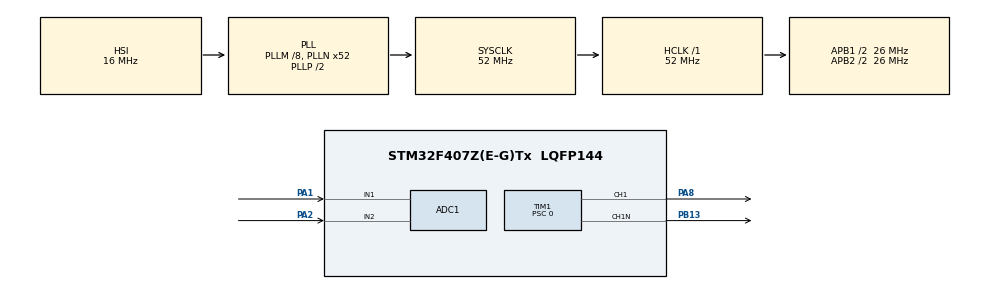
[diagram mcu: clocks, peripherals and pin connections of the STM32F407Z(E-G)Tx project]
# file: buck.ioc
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ADC1.Channel-1\#ChannelRegularConversion=ADC_CHANNEL_1
ADC1.Channel-2\#ChannelRegularConversion=ADC_CHANNEL_2
ADC1.ContinuousConvMode=ENABLE
ADC1.DMAContinuousRequests=ENABLE
ADC1.DiscontinuousConvMode=DISABLE
ADC1.EOCSelection=ADC_EOC_SEQ_CONV
ADC1.ExternalTrigConv=ADC_SOFTWARE_START
ADC1.NbrOfConversion=2
ADC1.NbrOfConversionFlag=1
ADC1.Rank-1\#ChannelRegularConversion=1
ADC1.Rank-2\#ChannelRegularConversion=2
ADC1.SamplingTime-1\#ChannelRegularConversion=ADC_SAMPLETIME_3CYCLES
ADC1.SamplingTime-2\#ChannelRegularConversion=ADC_SAMPLETIME_3CYCLES
ADC1.ScanConvMode=ENABLE
ADC1.master=1
Dma.ADC1.0.Direction=DMA_PERIPH_TO_MEMORY
Dma.ADC1.0.FIFOMode=DMA_FIFOMODE_DISABLE
Dma.ADC1.0.Instance=DMA2_Stream0
Dma.ADC1.0.MemDataAlignment=DMA_MDATAALIGN_HALFWORD
Dma.ADC1.0.MemInc=DMA_MINC_ENABLE
Dma.ADC1.0.Mode=DMA_CIRCULAR
Dma.ADC1.0.PeriphDataAlignment=DMA_PDATAALIGN_HALFWORD
Dma.ADC1.0.PeriphInc=DMA_PINC_DISABLE
Dma.ADC1.0.Priority=DMA_PRIORITY_LOW
Dma.Request0=ADC1
Mcu.Family=STM32F4
Mcu.Name=STM32F407Z(E-G)Tx
Mcu.Package=LQFP144
NVIC.DMA2_Stream0_IRQn=true\:0\:0\:false\:false\:true\:false\:true
NVIC.PriorityGroup=NVIC_PRIORITYGROUP_1
NVIC.TIM1_UP_TIM10_IRQn=true\:0\:1\:true\:false\:true\:true\:true
PA1.Signal=ADCx_IN1
PA2.Signal=ADCx_IN2
PA8.GPIO_ModeDefaultPP=GPIO_MODE_AF_PP
PA8.Signal=S_TIM1_CH1
PB13.Mode=PWM Generation1 CH1 CH1N
PB13.Signal=TIM1_CH1N
ProjectManager.HeapSize=0x200
ProjectManager.StackSize=0x400
ProjectManager.TargetToolchain=MDK-ARM V5
RCC.48MHZClocksFreq_Value=26000000
RCC.AHBFreq_Value=52000000
RCC.APB1CLKDivider=RCC_HCLK_DIV2
RCC.APB1Freq_Value=26000000
RCC.APB1TimFreq_Value=52000000
RCC.APB2CLKDivider=RCC_HCLK_DIV2
RCC.APB2Freq_Value=26000000
RCC.APB2TimFreq_Value=52000000
RCC.CortexFreq_Value=52000000
RCC.HCLKFreq_Value=52000000
RCC.HSE_VALUE=25000000
RCC.HSI_VALUE=16000000
RCC.LSE_VALUE=32768
RCC.PLLM=8
RCC.PLLN=52
RCC.SYSCLKFreq_VALUE=52000000
RCC.SYSCLKSource=RCC_SYSCLKSOURCE_PLLCLK
RCC.VCOOutputFreq_Value=104000000
SH.ADCx_IN1.0=ADC1_IN1,IN1
SH.ADCx_IN2.0=ADC1_IN2,IN2
SH.S_TIM1_CH1.0=TIM1_CH1,PWM Generation1 CH1 CH1N
TIM1.AutomaticOutput=TIM_AUTOMATICOUTPUT_ENABLE
TIM1.Channel-PWM\ Generation1\ CH1\ CH1N=TIM_CHANNEL_1
TIM1.DeadTime=10
TIM1.OCIdleState_1=TIM_OCIDLESTATE_RESET
TIM1.OCNIdleState_1=TIM_OCNIDLESTATE_RESET
TIM1.Period=2599
TIM1.Prescaler=0
TIM1.Pulse-PWM\ Generation1\ CH1\ CH1N=0
VP_TIM1_VS_ClockSourceINT.Mode=Internal
board=custom

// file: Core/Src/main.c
/* USER CODE BEGIN Header */
/**
  ******************************************************************************
  * @file           : main.c
  * @brief          : Main program body
  ******************************************************************************
  * @attention
  *
  * <h2><center>&copy; Copyright (c) 2020 STMicroelectronics.
  * All rights reserved.</center></h2>
  *
  * This software component is licensed by ST under BSD 3-Clause license,
  * the "License"; You may not use this file except in compliance with the
  * License. You may obtain a copy of the License at:
  *                        opensource.org/licenses/BSD-3-Clause
  *
  ******************************************************************************
  */
	/*PA1 电压 PA2电流   橙色连PA1*/
/* USER CODE END Header */
#include "main.h"

/* USER CODE BEGIN Includes */
#include "pid.h"
#include "myiic.h"
#include "oled.h"
/* USER CODE END Includes */

/* USER CODE BEGIN PD */
#define RHEOSTAT_ADC_DR_ADDR                ((uint32_t)ADC1+0x4c)
/* USER CODE END PD */

ADC_HandleTypeDef hadc1;
DMA_HandleTypeDef hdma_adc1;

TIM_HandleTypeDef htim1;

void SystemClock_Config(void);
static void MX_GPIO_Init(void);
static void MX_DMA_Init(void);
static void MX_ADC1_Init(void);
static void MX_TIM1_Init(void);

/* USER CODE BEGIN 0 */
ADC_HandleTypeDef hadc1;
TIM_HandleTypeDef htim1;
float fi_value;
uint16_t  adc_value[2];
int  pulse;
extern struct pid_var pid;
int value_array[100]={0};
unsigned char count=0;
unsigned char am=1;
float sum=0;
unsigned char show[14];
float U_out=0;
float I_out=0;
/* USER CODE END 0 */

int main(void)
{

  /* MCU Configuration--------------------------------------------------------*/

  /* Reset of all peripherals, Initializes the Flash interface and the Systick. */
  HAL_Init();

  /* Configure the system clock */
  SystemClock_Config();

  /* Initialize all configured peripherals */
  MX_GPIO_Init();
  MX_DMA_Init();
  MX_ADC1_Init();
  MX_TIM1_Init();
  /* USER CODE BEGIN 2 */
	HAL_ADC_Start_DMA(&hadc1, (uint32_t*)&adc_value,2);
	pid_init(20,3,0,16);
	HAL_SYSTICK_Config(HAL_RCC_GetHCLKFreq()/1000000);     //HAL_Delay()  us级
	IIC_Init();

  OLED_Init();

  OLED_Fill(0xff);
	OLED_Fill(0x00);

  HAL_TIM_Base_Start_IT(&htim1);
  /* USER CODE END 2 */

  /* Infinite loop */
  /* USER CODE BEGIN WHILE */
  while (1)
  {
		U_out=adc_value[0]*3.3/4096;
    sprintf((char*)show, "U_out = %.4f ",(U_out));
    OLED_P6x8Str(5,0,show);
		I_out=adc_value[1]*3.3/4096;
    sprintf((char*)show, "I_out = %.4f ",(I_out));
    OLED_P6x8Str(5,1,show);
		//__HAL_TIM_SetCompare(&htim1, TIM_CHANNEL_1,1000);
    /* USER CODE END WHILE */

  }
}

void SystemClock_Config(void)
{
  RCC_OscInitTypeDef RCC_OscInitStruct = {0};
  RCC_ClkInitTypeDef RCC_ClkInitStruct = {0};

  /** Configure the main internal regulator output voltage
  */
  __HAL_RCC_PWR_CLK_ENABLE();
  __HAL_PWR_VOLTAGESCALING_CONFIG(PWR_REGULATOR_VOLTAGE_SCALE1);
  /** Initializes the RCC Oscillators according to the specified parameters
  * in the RCC_OscInitTypeDef structure.
  */
  RCC_OscInitStruct.OscillatorType = RCC_OSCILLATORTYPE_HSI;
  RCC_OscInitStruct.HSIState = RCC_HSI_ON;
  RCC_OscInitStruct.HSICalibrationValue = RCC_HSICALIBRATION_DEFAULT;
  RCC_OscInitStruct.PLL.PLLState = RCC_PLL_ON;
  RCC_OscInitStruct.PLL.PLLSource = RCC_PLLSOURCE_HSI;
  RCC_OscInitStruct.PLL.PLLM = 8;
  RCC_OscInitStruct.PLL.PLLN = 52;
  RCC_OscInitStruct.PLL.PLLP = RCC_PLLP_DIV2;
  RCC_OscInitStruct.PLL.PLLQ = 4;
  if (HAL_RCC_OscConfig(&RCC_OscInitStruct) != HAL_OK)
  {
    Error_Handler();
  }
  /** Initializes the CPU, AHB and APB buses clocks
  */
  RCC_ClkInitStruct.ClockType = RCC_CLOCKTYPE_HCLK|RCC_CLOCKTYPE_SYSCLK
                              |RCC_CLOCKTYPE_PCLK1|RCC_CLOCKTYPE_PCLK2;
  RCC_ClkInitStruct.SYSCLKSource = RCC_SYSCLKSOURCE_PLLCLK;
  RCC_ClkInitStruct.AHBCLKDivider = RCC_SYSCLK_DIV1;
  RCC_ClkInitStruct.APB1CLKDivider = RCC_HCLK_DIV2;
  RCC_ClkInitStruct.APB2CLKDivider = RCC_HCLK_DIV2;

  if (HAL_RCC_ClockConfig(&RCC_ClkInitStruct, FLASH_LATENCY_1) != HAL_OK)
  {
    Error_Handler();
  }
}

static void MX_ADC1_Init(void)
{

  ADC_ChannelConfTypeDef sConfig = {0};

  /** Configure the global features of the ADC (Clock, Resolution, Data Alignment and number of conversion)
  */
  hadc1.Instance = ADC1;
  hadc1.Init.ClockPrescaler = ADC_CLOCK_SYNC_PCLK_DIV2;
  hadc1.Init.Resolution = ADC_RESOLUTION_12B;
  hadc1.Init.ScanConvMode = ENABLE;
  hadc1.Init.ContinuousConvMode = ENABLE;
  hadc1.Init.DiscontinuousConvMode = DISABLE;
  hadc1.Init.ExternalTrigConvEdge = ADC_EXTERNALTRIGCONVEDGE_NONE;
  hadc1.Init.ExternalTrigConv = ADC_SOFTWARE_START;
  hadc1.Init.DataAlign = ADC_DATAALIGN_RIGHT;
  hadc1.Init.NbrOfConversion = 2;
  hadc1.Init.DMAContinuousRequests = ENABLE;
  hadc1.Init.EOCSelection = ADC_EOC_SEQ_CONV;
  if (HAL_ADC_Init(&hadc1) != HAL_OK)
  {
    Error_Handler();
  }
  /** Configure for the selected ADC regular channel its corresponding rank in the sequencer and its sample time.
  */
  sConfig.Channel = ADC_CHANNEL_1;
  sConfig.Rank = 1;
  sConfig.SamplingTime = ADC_SAMPLETIME_3CYCLES;
  if (HAL_ADC_ConfigChannel(&hadc1, &sConfig) != HAL_OK)
  {
    Error_Handler();
  }
  /** Configure for the selected ADC regular channel its corresponding rank in the sequencer and its sample time.
  */
  sConfig.Channel = ADC_CHANNEL_2;
  sConfig.Rank = 2;
  if (HAL_ADC_ConfigChannel(&hadc1, &sConfig) != HAL_OK)
  {
    Error_Handler();
  }
  /* USER CODE BEGIN ADC1_Init 2 */
  //HAL_ADC_Start_DMA(&hadc1, (uint32_t*)&adc_value,2);

  /* USER CODE END ADC1_Init 2 */

}

static void MX_TIM1_Init(void)
{

  TIM_ClockConfigTypeDef sClockSourceConfig = {0};
  TIM_MasterConfigTypeDef sMasterConfig = {0};
  TIM_OC_InitTypeDef sConfigOC = {0};
  TIM_BreakDeadTimeConfigTypeDef sBreakDeadTimeConfig = {0};

  htim1.Instance = TIM1;
  htim1.Init.Prescaler = 0;
  htim1.Init.CounterMode = TIM_COUNTERMODE_UP;
  htim1.Init.Period = 2599;
  htim1.Init.ClockDivision = TIM_CLOCKDIVISION_DIV1;
  htim1.Init.RepetitionCounter = 0;
  htim1.Init.AutoReloadPreload = TIM_AUTORELOAD_PRELOAD_DISABLE;
  if (HAL_TIM_Base_Init(&htim1) != HAL_OK)
  {
    Error_Handler();
  }
  sClockSourceConfig.ClockSource = TIM_CLOCKSOURCE_INTERNAL;
  if (HAL_TIM_ConfigClockSource(&htim1, &sClockSourceConfig) != HAL_OK)
  {
    Error_Handler();
  }
  if (HAL_TIM_PWM_Init(&htim1) != HAL_OK)
  {
    Error_Handler();
  }
  sMasterConfig.MasterOutputTrigger = TIM_TRGO_RESET;
  sMasterConfig.MasterSlaveMode = TIM_MASTERSLAVEMODE_DISABLE;
  if (HAL_TIMEx_MasterConfigSynchronization(&htim1, &sMasterConfig) != HAL_OK)
  {
    Error_Handler();
  }
  sConfigOC.OCMode = TIM_OCMODE_PWM1;
  sConfigOC.Pulse = 0;
  sConfigOC.OCPolarity = TIM_OCPOLARITY_HIGH;
  sConfigOC.OCNPolarity = TIM_OCNPOLARITY_HIGH;
  sConfigOC.OCFastMode = TIM_OCFAST_DISABLE;
  sConfigOC.OCIdleState = TIM_OCIDLESTATE_RESET;
  sConfigOC.OCNIdleState = TIM_OCNIDLESTATE_RESET;
  if (HAL_TIM_PWM_ConfigChannel(&htim1, &sConfigOC, TIM_CHANNEL_1) != HAL_OK)
  {
    Error_Handler();
  }
  sBreakDeadTimeConfig.OffStateRunMode = TIM_OSSR_DISABLE;
  sBreakDeadTimeConfig.OffStateIDLEMode = TIM_OSSI_DISABLE;
  sBreakDeadTimeConfig.LockLevel = TIM_LOCKLEVEL_OFF;
  sBreakDeadTimeConfig.DeadTime = 10;
  sBreakDeadTimeConfig.BreakState = TIM_BREAK_DISABLE;
  sBreakDeadTimeConfig.BreakPolarity = TIM_BREAKPOLARITY_HIGH;
  sBreakDeadTimeConfig.AutomaticOutput = TIM_AUTOMATICOUTPUT_ENABLE;
  if (HAL_TIMEx_ConfigBreakDeadTime(&htim1, &sBreakDeadTimeConfig) != HAL_OK)
  {
    Error_Handler();
  }
  /* USER CODE BEGIN TIM1_Init 2 */
   /* 定时器通道1输出PWM */
  	HAL_TIM_PWM_Start(&htim1,TIM_CHANNEL_1);
	 /* 定时器通道1互补输出PWM */
	  HAL_TIMEx_PWMN_Start(&htim1,TIM_CHANNEL_1);
  /* USER CODE END TIM1_Init 2 */
  HAL_TIM_MspPostInit(&htim1);

}

static void MX_DMA_Init(void)
{

  /* DMA controller clock enable */
  __HAL_RCC_DMA2_CLK_ENABLE();

  /* DMA interrupt init */
  /* DMA2_Stream0_IRQn interrupt configuration */
  //HAL_NVIC_SetPriority(DMA2_Stream0_IRQn, 0, 0);
  //HAL_NVIC_EnableIRQ(DMA2_Stream0_IRQn);

}

static void MX_GPIO_Init(void)
{

  /* GPIO Ports Clock Enable */
  __HAL_RCC_GPIOA_CLK_ENABLE();
  __HAL_RCC_GPIOB_CLK_ENABLE();

}

/* USER CODE BEGIN 4 */
void HAL_TIM_PeriodElapsedCallback(TIM_HandleTypeDef *htim)
{
	//HAL_ADC_Start(&hadc1);
	//HAL_ADC_PollForConversion(&hadc1, 10);
	//fi_value=HAL_ADC_GetValue(&hadc1);
	//HAL_ADC_Start_DMA(&hadc1, (uint32_t*)&adc_value,2);
	//HAL_Delay(4);
	fi_value=filter(adc_value[0]);
	pid_cal(fi_value);
	pulse+=(int)pid.out;
	if(pulse>=pid.max) pulse=pid.max;
	else if(pulse<=pid.min) pulse=pid.min;
	__HAL_TIM_SetCompare(&htim1, TIM_CHANNEL_1,pulse);
}
float filter( uint32_t value)
{
	if(count<=99&&am)
	{
		value_array[count]=value;
		sum+=value;
		count++;
		return  sum/count;
	}
	else if(count>99)
	{
		count=0;
		am=0;
	}
	if(am==0)
	{

	  sum=sum-value_array[count]+value;
		value_array[count]=value;
	  count++;
		if(count>99) count=0;
		return sum/100;
	}
}
/* USER CODE END 4 */

void Error_Handler(void)
{
}

/************************ (C) COPYRIGHT STMicroelectronics *****END OF FILE****/
